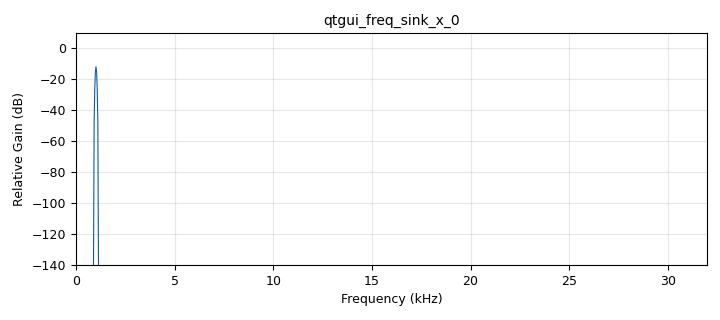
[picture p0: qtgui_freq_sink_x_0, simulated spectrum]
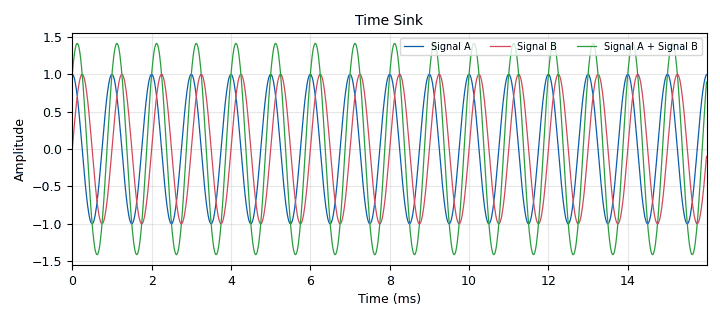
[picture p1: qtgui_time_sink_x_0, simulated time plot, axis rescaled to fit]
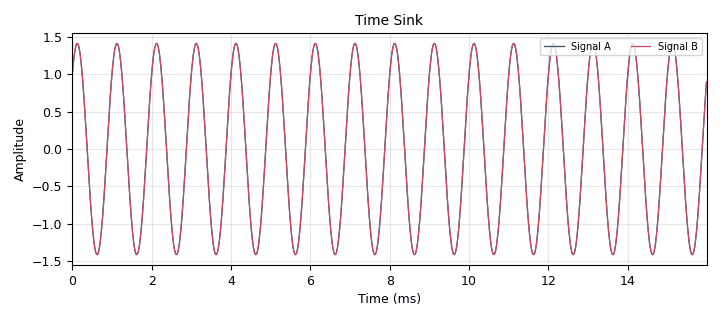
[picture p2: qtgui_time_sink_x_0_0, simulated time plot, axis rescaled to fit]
<?xml version='1.0' encoding='utf-8'?>
<?grc format='1' created='3.7.13'?>
<flow_graph>
<block>
<key>options</key>
<param><key>id</key><value>simple_example</value></param>
<param><key>category</key><value>Custom</value></param>
<param><key>generate_options</key><value>qt_gui</value></param>
</block>
<block>
<key>variable_qtgui_range</key>
<param><key>id</key><value>freq_a</value></param>
<param><key>value</key><value>1e3</value></param>
<param><key>label</key><value>Signal A Frequency</value></param>
<param><key>orient</key><value>Qt.Horizontal</value></param>
<param><key>start</key><value>1e2</value></param>
<param><key>step</key><value>1</value></param>
<param><key>stop</key><value>samp_rate/2</value></param>
</block>
<block>
<key>variable_qtgui_range</key>
<param><key>id</key><value>freq_b</value></param>
<param><key>value</key><value>1e3</value></param>
<param><key>label</key><value>Signal B Frequency</value></param>
<param><key>orient</key><value>Qt.Horizontal</value></param>
<param><key>start</key><value>1e2</value></param>
<param><key>step</key><value>1</value></param>
<param><key>stop</key><value>samp_rate/2</value></param>
</block>
<block>
<key>variable</key>
<param><key>id</key><value>samp_rate</value></param>
<param><key>value</key><value>64000</value></param>
</block>
<block>
<key>blocks_add_xx</key>
<param><key>id</key><value>blocks_add_xx_0</value></param>
<param><key>type</key><value>float</value></param>
</block>
<block>
<key>blocks_add_xx</key>
<param><key>id</key><value>blocks_add_xx_0_0</value></param>
<param><key>type</key><value>float</value></param>
</block>
<block>
<key>blocks_throttle</key>
<param><key>id</key><value>blocks_throttle_0</value></param>
<param><key>samples_per_second</key><value>samp_rate</value></param>
<param><key>type</key><value>float</value></param>
</block>
<block>
<key>qtgui_freq_sink_x</key>
<param><key>id</key><value>qtgui_freq_sink_x_0</value></param>
<param><key>bw</key><value>samp_rate</value></param>
<param><key>fc</key><value>0</value></param>
<param><key>fftsize</key><value>2048</value></param>
<param><key>showports</key><value>True</value></param>
<param><key>freqhalf</key><value>False</value></param>
<param><key>type</key><value>float</value></param>
<param><key>wintype</key><value>firdes.WIN_BLACKMAN_hARRIS</value></param>
</block>
<block>
<key>qtgui_time_sink_x</key>
<param><key>id</key><value>qtgui_time_sink_x_0</value></param>
<param><key>ctrlpanel</key><value>True</value></param>
<param><key>color1</key><value>"blue"</value></param>
<param><key>label1</key><value>Signal A</value></param>
<param><key>color2</key><value>"red"</value></param>
<param><key>label2</key><value>Signal B</value></param>
<param><key>color3</key><value>"green"</value></param>
<param><key>label3</key><value>Signal A + Signal B</value></param>
<param><key>name</key><value>"Time Sink"</value></param>
<param><key>nconnections</key><value>3</value></param>
<param><key>size</key><value>1024</value></param>
<param><key>srate</key><value>samp_rate</value></param>
<param><key>type</key><value>float</value></param>
</block>
<block>
<key>qtgui_time_sink_x</key>
<param><key>id</key><value>qtgui_time_sink_x_0_0</value></param>
<param><key>ctrlpanel</key><value>True</value></param>
<param><key>color1</key><value>"blue"</value></param>
<param><key>label1</key><value>Signal A</value></param>
<param><key>color2</key><value>"red"</value></param>
<param><key>label2</key><value>Signal B</value></param>
<param><key>name</key><value>"Time Sink"</value></param>
<param><key>nconnections</key><value>2</value></param>
<param><key>size</key><value>1024</value></param>
<param><key>srate</key><value>samp_rate</value></param>
<param><key>type</key><value>float</value></param>
</block>
<block>
<key>analog_sig_source_x</key>
<param><key>id</key><value>signal_A</value></param>
<param><key>amp</key><value>1</value></param>
<param><key>freq</key><value>freq_a</value></param>
<param><key>offset</key><value>0</value></param>
<param><key>type</key><value>float</value></param>
<param><key>samp_rate</key><value>samp_rate</value></param>
<param><key>waveform</key><value>analog.GR_COS_WAVE</value></param>
</block>
<block>
<key>analog_sig_source_x</key>
<param><key>id</key><value>signal_A_0</value></param>
<param><key>amp</key><value>1</value></param>
<param><key>freq</key><value>freq_a</value></param>
<param><key>offset</key><value>0</value></param>
<param><key>type</key><value>float</value></param>
<param><key>samp_rate</key><value>samp_rate</value></param>
<param><key>waveform</key><value>analog.GR_COS_WAVE</value></param>
</block>
<block>
<key>analog_sig_source_x</key>
<param><key>id</key><value>signal_B</value></param>
<param><key>amp</key><value>1</value></param>
<param><key>freq</key><value>freq_b</value></param>
<param><key>offset</key><value>0</value></param>
<param><key>type</key><value>float</value></param>
<param><key>samp_rate</key><value>samp_rate</value></param>
<param><key>waveform</key><value>analog.GR_SIN_WAVE</value></param>
</block>
<block>
<key>analog_sig_source_x</key>
<param><key>id</key><value>signal_B_0</value></param>
<param><key>amp</key><value>1</value></param>
<param><key>freq</key><value>freq_b</value></param>
<param><key>offset</key><value>0</value></param>
<param><key>type</key><value>float</value></param>
<param><key>samp_rate</key><value>samp_rate</value></param>
<param><key>waveform</key><value>analog.GR_SIN_WAVE</value></param>
</block>
<connection><source_block_id>blocks_add_xx_0</source_block_id><sink_block_id>qtgui_time_sink_x_0</sink_block_id><source_key>0</source_key><sink_key>2</sink_key></connection>
<connection><source_block_id>blocks_add_xx_0_0</source_block_id><sink_block_id>qtgui_freq_sink_x_0</sink_block_id><source_key>0</source_key><sink_key>0</sink_key></connection>
<connection><source_block_id>blocks_add_xx_0_0</source_block_id><sink_block_id>qtgui_time_sink_x_0_0</sink_block_id><source_key>0</source_key><sink_key>0</sink_key></connection>
<connection><source_block_id>blocks_add_xx_0_0</source_block_id><sink_block_id>qtgui_time_sink_x_0_0</sink_block_id><source_key>0</source_key><sink_key>1</sink_key></connection>
<connection><source_block_id>blocks_throttle_0</source_block_id><sink_block_id>qtgui_time_sink_x_0</sink_block_id><source_key>0</source_key><sink_key>1</sink_key></connection>
<connection><source_block_id>signal_A</source_block_id><sink_block_id>blocks_add_xx_0</sink_block_id><source_key>0</source_key><sink_key>0</sink_key></connection>
<connection><source_block_id>signal_A</source_block_id><sink_block_id>qtgui_time_sink_x_0</sink_block_id><source_key>0</source_key><sink_key>0</sink_key></connection>
<connection><source_block_id>signal_A_0</source_block_id><sink_block_id>blocks_add_xx_0_0</sink_block_id><source_key>0</source_key><sink_key>0</sink_key></connection>
<connection><source_block_id>signal_B</source_block_id><sink_block_id>blocks_add_xx_0</sink_block_id><source_key>0</source_key><sink_key>1</sink_key></connection>
<connection><source_block_id>signal_B</source_block_id><sink_block_id>blocks_throttle_0</sink_block_id><source_key>0</source_key><sink_key>0</sink_key></connection>
<connection><source_block_id>signal_B_0</source_block_id><sink_block_id>blocks_add_xx_0_0</sink_block_id><source_key>0</source_key><sink_key>1</sink_key></connection>
</flow_graph>
